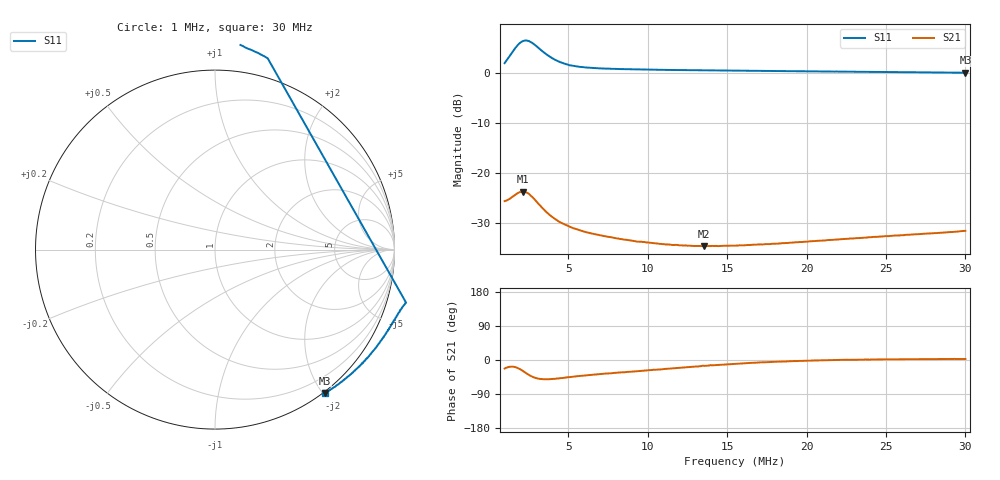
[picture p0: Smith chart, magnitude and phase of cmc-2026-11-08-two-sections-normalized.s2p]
!File created by NanoVNA-F V2
# Hz S RI R 50
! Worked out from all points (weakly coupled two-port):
!   301 points, 1 MHz to 30 MHz, reference 50 ohm
!   highest |S21| = -23.66 dB at 2.16 MHz (marker M1); lowest = -34.6 dB at 13.57 MHz (marker M2)
!   lowest |S11| = 0.1 dB at 30 MHz (marker M3)
!   |S11| at or under -10 dB: nowhere
!   S12 and S22 are empty: the file has one direction only
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1000000  -0.9701 0.7957  0.0487 -0.0202  0 0  0 0
1386664  -1.268 0.8721  0.0539 -0.0172  0 0  0 0
1676662  -1.444 1.04  0.0577 -0.0197  0 0  0 0
1966660  -1.504 1.312  0.0593 -0.0265  0 0  0 0
2159992  -1.44 1.507  0.0573 -0.032  0 0  0 0
2449990  -1.201 1.724  0.0504 -0.0384  0 0  0 0
2739988  -0.8978 1.786  0.0418 -0.0403  0 0  0 0
3126652  -0.5699 1.688  0.0324 -0.0375  0 0  0 0
3513316  -0.3604 1.545  0.027 -0.0331  0 0  0 0
3899980  -0.2266 1.42  0.024 -0.029  0 0  0 0
4479976  -0.0883 1.284  0.0218 -0.0242  0 0  0 0
5059972  0.0197 1.198  0.0206 -0.0209  0 0  0 0
5833300  0.1417 1.14  0.0199 -0.0178  0 0  0 0
6703294  0.2462 1.092  0.0193 -0.0153  0 0  0 0
7476622  0.2933 1.066  0.0189 -0.0136  0 0  0 0
7573288  1.065 -0.2963  0.0189 -0.0133  0 0  0 0
1.06666e7  1.01 -0.3758  0.018 -0.00841  0 0  0 0
1.356658e7  0.9625 -0.4531  0.018 -0.00501  0 0  0 0
1.54999e7  0.9295 -0.5017  0.0187 -0.00332  0 0  0 0
2.03332e7  0.8359 -0.6183  0.0209 -0.000592  0 0  0 0
2.51665e7  0.7292 -0.7172  0.0236 0.000584  0 0  0 0
2.99998e7  0.6134 -0.7989  0.0266 0.00124  0 0  0 0
